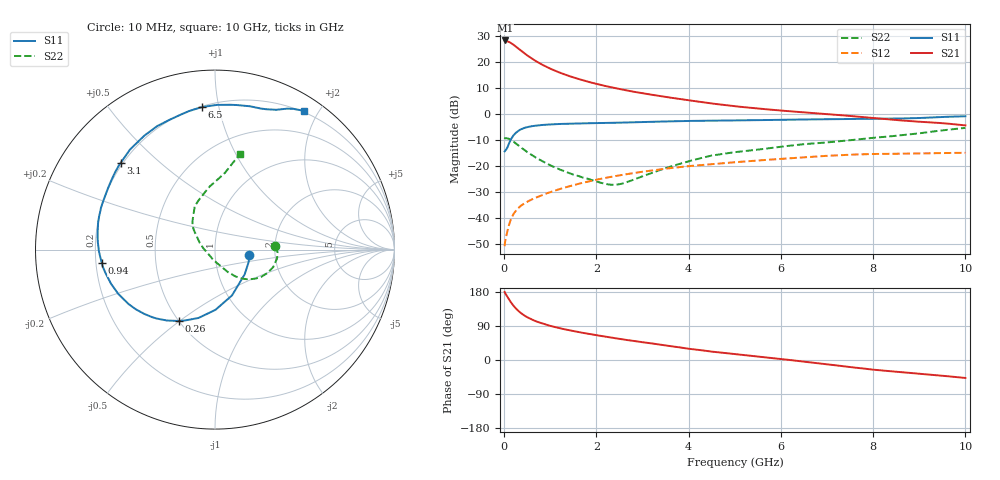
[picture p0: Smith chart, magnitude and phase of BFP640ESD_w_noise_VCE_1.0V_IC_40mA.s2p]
! Infineon Technologies  Discrete & RF Semiconductors
! BFP640ESD
! VCE =  1.0 V,  IC =  40 mA
! Common Emitter S-Parameters:  Jan 2016
# GHz  S  MA  R  50
!  f  S11  S21  S12  S22
! GHz  MAG  ANG  MAG  ANG  MAG  ANG  MAG  ANG
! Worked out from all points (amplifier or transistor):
!   233 points, 10 MHz to 10 GHz, reference 50 ohm
!   highest |S21| = 28.4 dB at 20 MHz (marker M1)
!   |S21| within 3 dB of that: start of sweep to 299.9 MHz
!   unconditionally stable (mu >= 1): start of sweep to end of sweep
!   at 200 MHz: K = 1.50, MAG = 28.5 dB, |S12| = -38.5 dB
!   at 1.74 GHz: K = 1.34, MAG = 16.1 dB, |S12| = -26.2 dB
!   at 10 GHz: K = 1.01, MAG = 4.6 dB, |S12| = -14.8 dB
!   lowest NFmin = 1.27 dB at 450 MHz
!   S11 on the Smith chart (normalised r, x): 10 MHz: 1.47, -0.10; 260 MHz: 0.50, -0.50; 940 MHz: 0.22, -0.06; 3.1 GHz: 0.19, +0.38; 6.5 GHz: 0.20, +0.89; 10 GHz: 0.18, +1.82
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0.01  0.1934 -9.7  25.98 179.5  0.0029 29.1  0.3364 3.2
0.02  0.1997 -19.8  26.45 176.5  0.0035 27.1  0.3492 -2.5
0.1  0.2722 -69.6  25.07 160.7  0.0072 52.0  0.3393 -16.4
0.15  0.3354 -89.5  23.66 151.5  0.0097 54.7  0.3206 -23.9
0.2  0.392 -103.6  21.99 143.4  0.0119 55.1  0.2994 -30.3
0.26  0.4459 -116.9  19.95 135.3  0.0141 54.5  0.2732 -36.5
0.3  0.4772 -124.1  18.72 130.3  0.0155 54.0  0.2559 -40.2
0.4  0.5325 -137.7  15.89 120.4  0.0183 53.2  0.2188 -47.3
0.5  0.5692 -147.8  13.63 112.8  0.0208 53.1  0.1879 -52.6
0.6  0.5929 -155.5  11.82 106.6  0.023 53.3  0.1638 -56.5
0.7  0.6097 -161.8  10.43 101.6  0.0253 53.7  0.1446 -60.1
0.94  0.6353 -173.2  8.038 92.1  0.0305 54.6  0.1113 -67.1
1.3  0.6568 174.7  5.913 81.3  0.0386 55.2  0.0806 -78.5
1.68  0.6707 165.0  4.605 72.3  0.0475 54.6  0.0619 -93.6
2.2  0.682 153.6  3.504 61.4  0.0599 51.9  0.0458 -123.5
3.1  0.714 137.2  2.464 45.4  0.0808 44.9  0.0692 169.7
3.4  0.7261 132.1  2.235 40.2  0.0876 42.3  0.086 159.2
5.1  0.7662 109.3  1.403 14.3  0.1216 26.8  0.1911 131.2
6.5  0.7976 95.2  1.092 -4.4  0.149 13.7  0.2667 115.0
6.8  0.8018 91.6  1.041 -8.5  0.1549 10.4  0.2791 111.2
8.4  0.8264 72.0  0.79 -29.9  0.1738 -7.9  0.3792 89.7
10  0.919 57.3  0.613 -47.4  0.1818 -21.8  0.5486 75.5
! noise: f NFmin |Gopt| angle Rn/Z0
0.45  1.27  0.26  -167  0.1
0.9  1.28  0.28  -162  0.09
1.9  1.31  0.3  -138  0.16
2.4  1.32  0.31  -132  0.13
5.5  1.54  0.48  -100  0.22
10  2.09  0.6  -72  0.97
